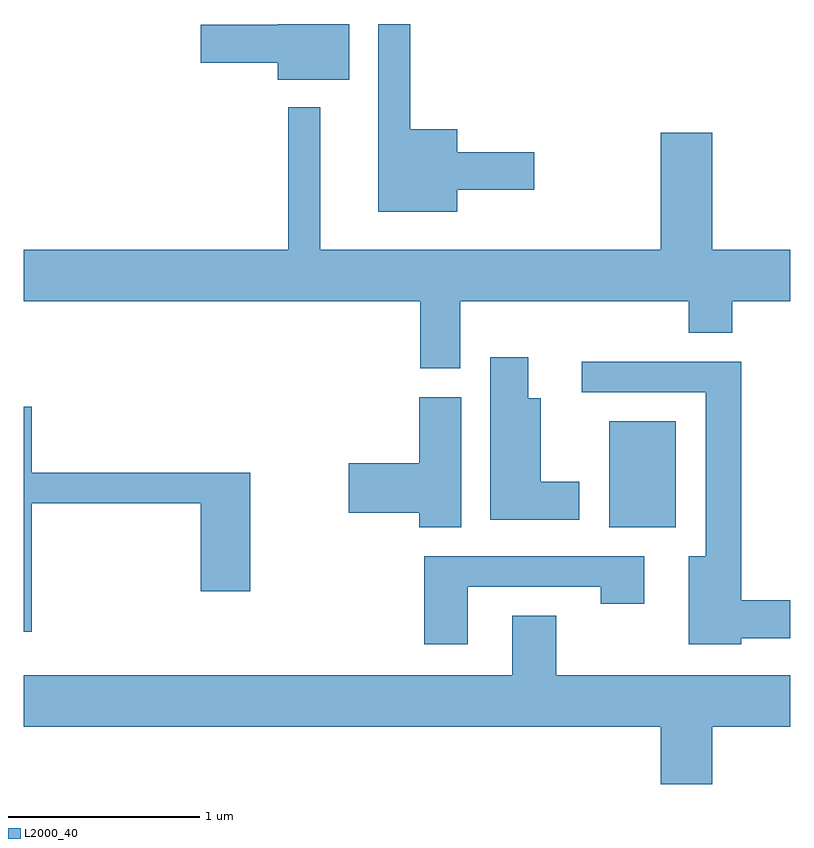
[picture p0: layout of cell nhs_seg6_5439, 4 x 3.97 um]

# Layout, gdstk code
import gdstk
lib = gdstk.Library(unit=1e-6, precision=1e-09)
def R(c, l, rs):  # rectangles x0, y0, x1, y1
    for r in rs: c.add(gdstk.rectangle(r[:2], r[2:], *l))
def P(c, l, *ps):  # polygons
    for p in ps: c.add(gdstk.Polygon(p, *l))
L2000_40 = (2000, 40)

nhs_seg6_5439 = lib.new_cell('nhs_seg6_5439')
R(nhs_seg6_5439, L2000_40, [(354.666,1535.536,355.014,1536.089)])
P(nhs_seg6_5439, L2000_40, [(353.309,1538.162),(352.936,1538.162),(352.936,1538.159),(352.536,1538.159),(352.536,1537.961),(352.936,1537.961),(352.936,1537.871),(353.309,1537.871)],
  [(353.874,1537.296),(354.274,1537.296),(354.274,1537.494),(353.874,1537.494),(353.874,1537.614),(353.629,1537.614),(353.629,1538.162),(353.461,1538.162),(353.461,1537.181),(353.874,1537.181)],
  [(353.889,1536.716),(355.081,1536.716),(355.081,1536.551),(355.309,1536.551),(355.309,1536.716),(355.611,1536.716),(355.611,1536.984),(355.204,1536.984),(355.204,1537.594),(354.936,1537.594),(354.936,1536.984),(353.159,1536.984),(353.159,1537.728),(352.991,1537.728),(352.991,1536.984),(351.611,1536.984),(351.611,1536.716),(353.681,1536.716),(353.681,1536.366),(353.889,1536.366)],
  [(354.509,1535.774),(354.309,1535.774),(354.309,1536.209),(354.244,1536.209),(354.244,1536.424),(354.046,1536.424),(354.046,1535.576),(354.509,1535.576)],
  [(355.354,1534.956),(355.611,1534.956),(355.611,1535.154),(355.354,1535.154),(355.354,1536.399),(354.523,1536.399),(354.523,1536.241),(355.171,1536.241),(355.171,1535.384),(355.081,1535.384),(355.081,1534.926),(355.354,1534.926)],
  [(353.894,1536.214),(353.676,1536.214),(353.676,1535.869),(353.306,1535.869),(353.306,1535.611),(353.676,1535.611),(353.676,1535.536),(353.894,1535.536)],
  [(351.654,1535.661),(352.536,1535.661),(352.536,1535.201),(352.794,1535.201),(352.794,1535.819),(351.654,1535.819),(351.654,1536.164),(351.611,1536.164),(351.611,1534.991),(351.654,1534.991)],
  [(353.929,1535.226),(354.621,1535.226),(354.621,1535.136),(354.849,1535.136),(354.849,1535.384),(353.701,1535.384),(353.701,1534.926),(353.929,1534.926)],
  [(355.204,1534.496),(355.611,1534.496),(355.611,1534.764),(354.389,1534.764),(354.389,1535.074),(354.161,1535.074),(354.161,1534.764),(351.611,1534.764),(351.611,1534.496),(354.936,1534.496),(354.936,1534.196),(355.204,1534.196)])

lib.write_gds('nhs_seg6_5439.gds')
